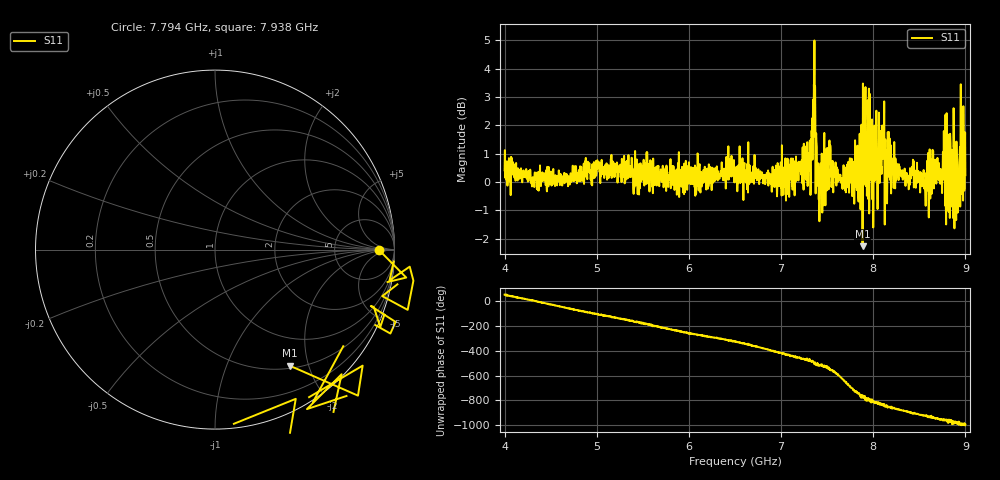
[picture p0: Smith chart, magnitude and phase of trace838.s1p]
! Created with skrf 1.8.0 (http://scikit-rf.org).
# Hz S RI R 50.0
!freq ReS11 ImS11
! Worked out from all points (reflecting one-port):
!   1601 points, 4 GHz to 9 GHz, reference 50 ohm
!   lowest |S11| = -2.3 dB at 7.884 GHz (marker M1), VSWR 7.70, Z = 26.8 - j85.3 ohm
!   phase of S11 starts at 53 deg and turns -1047 deg over the sweep
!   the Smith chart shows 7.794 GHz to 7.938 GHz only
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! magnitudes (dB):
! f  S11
! 4 GHz  0.4
! 4.625 GHz  -0.1
! 5.25 GHz  0.4
! 5.875 GHz  0.3
! 6.5 GHz  0.2
! 7.125 GHz  -0.3
! 7.297 GHz  0.5
! 7.356 GHz  3.4
! 7.381 GHz  1.7
! 7.4 GHz  0.1
! 7.425 GHz  0.4
! 7.509 GHz  0.2
! 7.678 GHz  0.6
! 7.75 GHz  0.1
! 7.859 GHz  1.5
! 7.884 GHz  -2.3
! 7.928 GHz  0.9
! 7.981 GHz  0.6
! 8.066 GHz  0.6
! 8.097 GHz  1.0
! 8.147 GHz  0.7
! 8.375 GHz  0.1
! 8.578 GHz  -0.1
! 8.631 GHz  0.8
! 8.822 GHz  1.1
! 8.906 GHz  0.6
! 8.972 GHz  0.9
! 9 GHz  0.2
